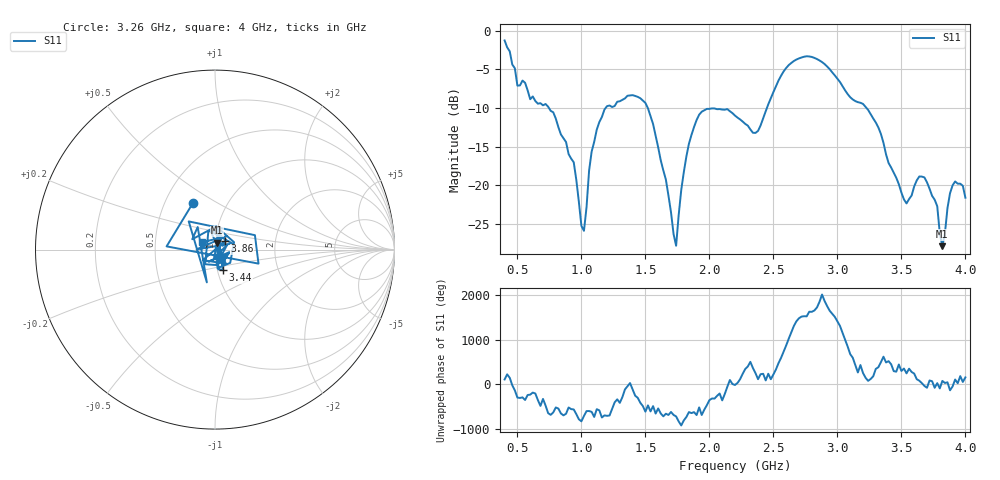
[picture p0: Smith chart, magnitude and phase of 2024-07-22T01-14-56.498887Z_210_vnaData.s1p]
!Created with skrf (http://scikit-rf.org).
# Hz S RI R 50.0
!freq ReS11 ImS11
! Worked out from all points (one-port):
!   181 points, 400 MHz to 4 GHz, reference 50 ohm
!   lowest |S11| = -27.9 dB at 3.82 GHz (marker M1), VSWR 1.08, Z = 51.1 + j3.93 ohm
!   |S11| at or under -10 dB: 746 MHz to 1.19 GHz (443.6 MHz wide, 45.8 % of centre); 1.519 GHz to 2.45 GHz (930.8 MHz wide, 46.9 % of centre); 3.227 GHz to end of sweep
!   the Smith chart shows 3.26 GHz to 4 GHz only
!   S11 on the Smith chart (normalised r, x): 3.26 GHz: 0.69, +0.39; 3.44 GHz: 1.07, -0.24; 3.86 GHz: 1.11, +0.10; 4 GHz: 0.86, +0.07
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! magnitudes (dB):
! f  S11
! 400 MHz  -1.3
! 500 MHz  -7.1
! 860 MHz  -13.9
! 940 MHz  -17.0
! 1.02 GHz  -25.9
! 1.06 GHz  -18.1
! 1.12 GHz  -12.8
! 1.3 GHz  -9.1
! 1.5 GHz  -9.4
! 1.66 GHz  -19.3
! 1.74 GHz  -27.8
! 1.76 GHz  -23.9
! 1.84 GHz  -14.6
! 1.92 GHz  -10.9
! 2.2 GHz  -11.0
! 2.38 GHz  -13.0
! 2.66 GHz  -3.9
! 2.88 GHz  -4.1
! 3.1 GHz  -8.6
! 3.26 GHz  -10.8
! 3.44 GHz  -18.4
! 3.56 GHz  -21.8
! 3.68 GHz  -19.0
! 3.78 GHz  -22.7
! 3.82 GHz  -27.9
! 3.86 GHz  -22.9
! 3.92 GHz  -19.5
! 4 GHz  -21.6
